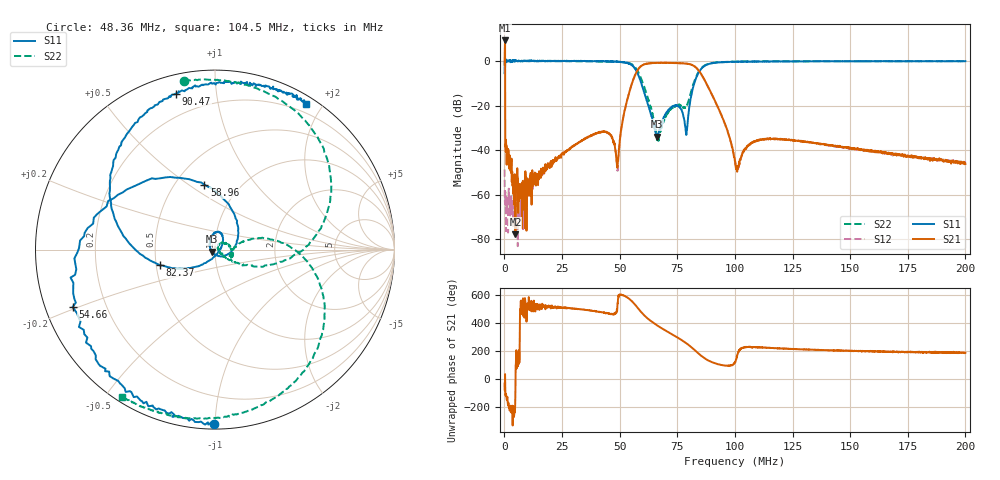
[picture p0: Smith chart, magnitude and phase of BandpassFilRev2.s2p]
! 19-Feb-26 2:39:29 PM
! E:\VNA_MEASUREMENTS\RECBLOCK\BANDPASSFILREV2.S2P
! CHANNEL.1
! TR.MEASUREMENT
! CORRECTED.DATA
# GHZ S RI R 50.0
! FREQ.GHZ  S11RE  S11IM  S21RE  S21IM  S12RE  S12IM  S22RE  S22IM
!; PortSelection: Port_12
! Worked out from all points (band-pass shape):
!   2000 points, 50 kHz to 200 MHz, reference 50 ohm
!   highest |S21| = 9.18 dB at 250 kHz (marker M1); lowest = -77.8 dB at 4.751 MHz (marker M2)
!   |S21| within 3 dB of the highest: 162.7 kHz to 256.4 kHz (93.68 kHz wide, 44.7 % of centre)
!   lowest |S11| = -33.9 dB at 66.27 MHz (marker M3), VSWR 1.04, Z = 48.3 - j1.1 ohm
!   |S11| at or under -10 dB: 59.35 MHz to 82.35 MHz (23 MHz wide, 32.5 % of centre)
!   |S22| runs from -35.8 to 0.1 dB; largest |S21 - S12| = 2.9
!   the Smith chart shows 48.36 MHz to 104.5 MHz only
!   S11 on the Smith chart (normalised r, x): 48.36 MHz: 0.03, -1.00; 54.66 MHz: 0.08, -0.19; 58.96 MHz: 0.69, +0.58; 82.37 MHz: 0.52, -0.10; 90.47 MHz: 0.09, +0.78; 104.5 MHz: 0.09, +1.80
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5e-05  0.2 0.4904  0.6795 -0.4725  0.0034 0.0014  -0.9723 0.00548
0.00025005  0.6705 -0.2331  2.399 1.586  0.00059 0.000188  -0.9948 0.0113
0.001350325  1.026 -0.0502  -0.01 -0.00274  0.000287 -0.000667  -0.9972 0.0232
0.004751176  1.041 -0.0796  2.86e-05 -0.000125  -0.00101 -0.000479  -0.9909 0.0774
0.008652151  0.9822 -0.1148  0.000285 0.00164  -0.000275 7.7e-05  -0.9829 0.1392
0.03345835  0.7808 -0.6307  -0.0126 0.0108  -0.0118 0.0106  -0.771 0.5985
0.04456113  0.3293 -0.9188  -0.00963 0.0229  -0.00886 0.0229  -0.4179 0.8718
0.04836208  -0.00288 -0.9724  -0.00359 0.00713  -0.00302 0.00761  -0.1744 0.9409
0.05466366  -0.7935 -0.3202  -0.22 -0.1126  -0.2187 -0.1119  0.5134 0.7048
0.05896473  -0.0588 0.3609  -0.4531 0.5941  -0.4444 0.6001  0.4424 -0.0289
0.06186546  0.1199 0.0337  0.1826 0.839  0.1855 0.8473  0.1493 -0.0764
0.06626656  -0.0167 -0.0113  0.8244 0.3668  0.8235 0.3604  0.0179 -0.00268
0.06676668  -0.023 0.000239  0.8549 0.2804  0.8601 0.285  0.0202 0.00539
0.07606901  0.0396 0.0841  0.254 -0.8478  0.2478 -0.8499  0.0959 -0.0372
0.07896973  0.016 -0.0165  -0.234 -0.8412  -0.2297 -0.8369  0.0944 -0.00217
0.08237058  -0.3076 -0.0871  -0.6661 -0.3665  -0.6673 -0.365  0.3477 0.0487
0.09047261  -0.2176 0.8696  -0.0701 0.1412  -0.0706 0.1386  0.2569 -0.8669
0.100075  0.3622 0.8879  -0.00279 0.00477  -0.00288 0.00423  -0.363 -0.8897
0.1044761  0.5087 0.8132  -0.00718 -0.00832  -0.00733 -0.00809  -0.5161 -0.8218
0.1333833  0.845 0.4943  -0.0128 -0.00715  -0.0131 -0.00691  -0.8781 -0.4434
0.1666917  0.9382 0.294  -0.00818 -0.00213  -0.00802 -0.00243  -0.965 -0.1952
0.2  0.9718 0.1674  -0.00486 -0.00061  -0.00502 -0.000651  -0.985 -0.0368
